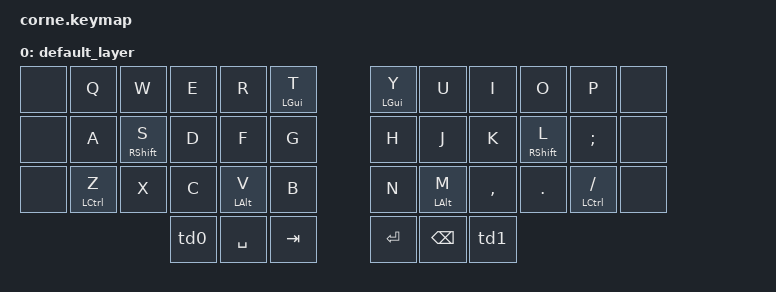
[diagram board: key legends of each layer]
/*
 * Copyrigpht (c) 2020 The ZMK Contributors
 *
 * SPDX-License-Identifier: MIT
 */

#include <behaviors.dtsi>
#include <dt-bindings/zmk/keys.h>
#include <dt-bindings/zmk/bt.h>

// &mt {
//     tapping-term-ms = <1000>;
// };

/ {
        behaviors {
                // hold tap 정의 길게 눌렀을 때 동작하는 키와 기본으로 눌렀을 때 동작하는 키를 다르게 설정하기 위해 사용
                pht: positional_hold_tap {
                        compatible = "zmk,behavior-hold-tap";
                        #binding-cells = <2>;
                        flavor = "hold-preferred";
                        tapping-term-ms = <200>;
                        quick-tap-ms = <200>;
                        bindings = <&kp>, <&kp>;
                        hold-trigger-key-positions = <1>;    // <---[[the W key]]
                };

                // 탭댄스, 주로 더블 클릭 시 어떤 동작을 할지 정의하기 위해 사용함
                td0: tap_dance_0 {
                        compatible = "zmk,behavior-tap-dance";
                        #binding-cells = <0>;
                        tapping-term-ms = <200>;
                        bindings = <&kp ESC>, <&kp CAPS>, <&kp ESC>;
                };
                td1: tap_dance_1 {
                        compatible = "zmk,behavior-tap-dance";
                        #binding-cells = <0>;
                        tapping-term-ms = <200>;
                        bindings = <&kp RALT>, <&kp RCTRL>, <&kp RALT>;
                };
        };


        keymap {
                compatible = "zmk,keymap";

                default_layer {
// -----------------------------------------------------------------------------------------
// | no   |  Q  |  W  |  E  |  R  |  T  |   |  Y  |  U   |  I  |  O  |  P  | no   |
// | no   |  A  |  S  |  D  |  F  |  G  |   |  H  |  J   |  K  |  L  |  ;  | no   |
// | no   |  Z  |  X  |  C  |  V  |  B  |   |  N  |  M   |  ,  |  .  |  /  | no   |
//                    | GUI | LWR | SPC |   | ENT | RSE  | ALT |
                        bindings = <
&none     &kp Q         &kp W           &kp E     &kp R         &pht LGUI T             &pht LGUI Y   &kp U             &kp I     &kp O           &kp P                 &none     
&none     &kp A         &pht RSHFT S    &kp D     &kp F         &kp G                   &kp H         &kp J             &kp K     &pht RSHFT L    &kp SEMI              &none     
&none     &pht LCTL Z   &kp X           &kp C     &pht LALT V   &kp B                   &kp N         &pht LALT M       &kp COMMA &kp DOT         &pht LCTL FSLH        &none     
                                        &td0      &kp SPACE     &kp TAB                 &kp ENTER     &kp BSPC          &td1
                        >;
                };
                
        };
};
